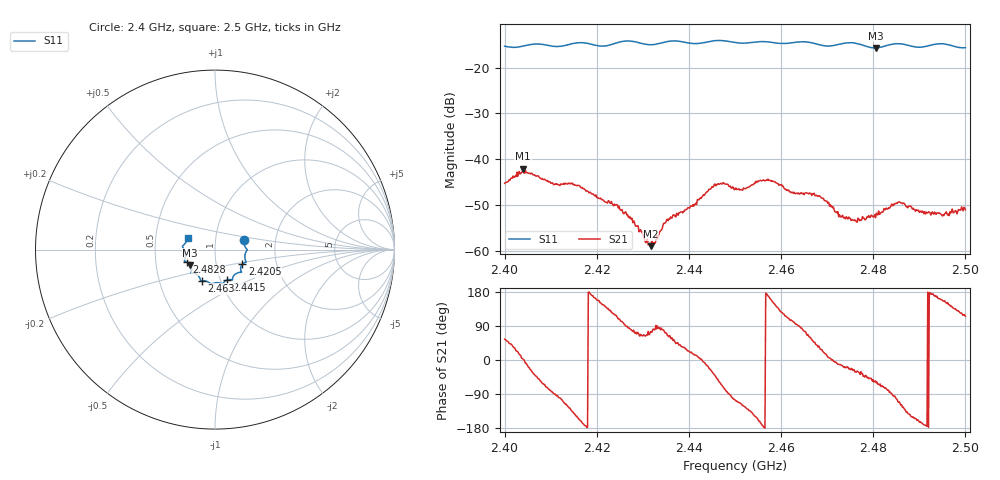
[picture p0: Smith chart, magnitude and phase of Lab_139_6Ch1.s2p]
# Hz S RI R 50
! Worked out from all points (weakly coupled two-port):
!   601 points, 2.4 GHz to 2.5 GHz, reference 50 ohm
!   highest |S21| = -42.06 dB at 2.404 GHz (marker M1); lowest = -59.0 dB at 2.4317 GHz (marker M2)
!   lowest |S11| = -15.7 dB at 2.4805 GHz (marker M3), VSWR 1.39, Z = 37.3 - j6.69 ohm
!   |S11| at or under -10 dB: start of sweep to end of sweep
!   S12 and S22 are empty: the file has one direction only
!   S11 on the Smith chart (normalised r, x): 2.4 GHz: 1.38, +0.15; 2.4205 GHz: 1.34, -0.22; 2.4415 GHz: 1.07, -0.38; 2.463 GHz: 0.82, -0.29; 2.4828 GHz: 0.72, -0.10; 2.5 GHz: 0.73, +0.10
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2.4e9  0.1629 0.0522  0.00315 0.00448  0 0  0 0
2.404e9  0.1711 0.0102  0.00789 0.000306  0 0  0 0
2.416667e9  0.1733 -0.0697  -0.00464 -0.00151  0 0  0 0
2.4205e9  0.152 -0.081  -0.00343 0.00147  0 0  0 0
2.4265e9  0.1484 -0.1263  7.29e-05 0.00247  0 0  0 0
2.431667e9  0.1117 -0.1377  0.000288 0.00109  0 0  0 0
2.433333e9  0.1006 -0.1515  0.000153 0.00143  0 0  0 0
2.4355e9  0.0975 -0.1664  0.000948 0.00192  0 0  0 0
2.4415e9  0.0657 -0.1701  0.00323 0.000747  0 0  0 0
2.446e9  0.0418 -0.1924  0.00347 -0.00393  0 0  0 0
2.45e9  0.0247 -0.1858  -0.00124 -0.00454  0 0  0 0
2.457167e9  -0.0261 -0.1885  -0.00597 0.00116  0 0  0 0
2.463e9  -0.072 -0.1738  -0.000531 0.0042  0 0  0 0
2.466667e9  -0.0817 -0.1673  0.00234 0.00328  0 0  0 0
2.473333e9  -0.1281 -0.1302  0.00236 -0.00065  0 0  0 0
2.476e9  -0.133 -0.1284  0.00186 -0.00114  0 0  0 0
2.4805e9  -0.1385 -0.0872  0.00132 -0.00189  0 0  0 0
2.482833e9  -0.1586 -0.0699  0.000733 -0.00285  0 0  0 0
2.483333e9  -0.1626 -0.0681  0.000545 -0.00291  0 0  0 0
2.485833e9  -0.1705 -0.0625  -0.00145 -0.00306  0 0  0 0
2.495e9  -0.1808 0.0186  -0.00223 0.000909  0 0  0 0
2.5e9  -0.1519 0.0639  -0.00122 0.00254  0 0  0 0
